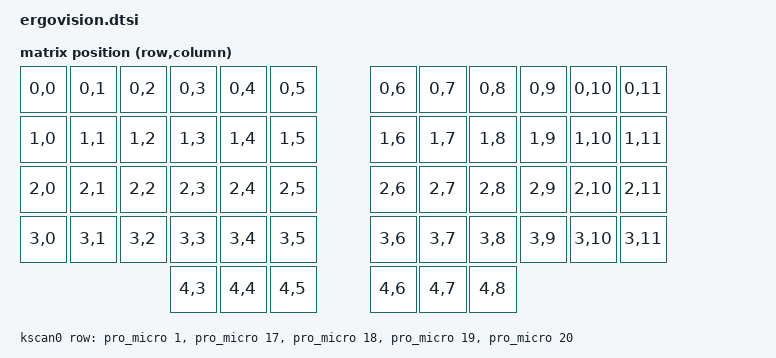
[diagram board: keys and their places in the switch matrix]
#include <dt-bindings/zmk/matrix_transform.h>
/ {
	chosen {
		zmk,kscan = &kscan0;
		zmk,matrix_transform = &default_transform;
	};
    default_transform: keymap_transform_0 {
        compatible = "zmk,matrix-transform";
        columns = <12>;
        rows = <5>;

        map = <
            RC(0,0) RC(0,1) RC(0,2) RC(0,3) RC(0,4) RC(0,5)                RC(0,6) RC(0,7) RC(0,8) RC(0,9) RC(0,10) RC(0,11)
            RC(1,0) RC(1,1) RC(1,2) RC(1,3) RC(1,4) RC(1,5)                RC(1,6) RC(1,7) RC(1,8) RC(1,9) RC(1,10) RC(1,11)
            RC(2,0) RC(2,1) RC(2,2) RC(2,3) RC(2,4) RC(2,5)                RC(2,6) RC(2,7) RC(2,8) RC(2,9) RC(2,10) RC(2,11)
            RC(3,0) RC(3,1) RC(3,2) RC(3,3) RC(3,4) RC(3,5)                RC(3,6) RC(3,7) RC(3,8) RC(3,9) RC(3,10) RC(3,11)                        
                                    RC(4,3) RC(4,4) RC(4,5)                RC(4,6) RC(4,7) RC(4,8)
        >;
    };

    kscan0: kscan {
        compatible = "zmk,kscan-gpio-matrix";
        label = "KSCAN";
        wakeup-source;

        diode-direction = "col2row";
        row-gpios
            = <&pro_micro 1  (GPIO_ACTIVE_HIGH | GPIO_PULL_DOWN)>
            , <&pro_micro 17 (GPIO_ACTIVE_HIGH | GPIO_PULL_DOWN)>
            , <&pro_micro 18 (GPIO_ACTIVE_HIGH | GPIO_PULL_DOWN)>
            , <&pro_micro 19 (GPIO_ACTIVE_HIGH | GPIO_PULL_DOWN)>
            , <&pro_micro 20 (GPIO_ACTIVE_HIGH | GPIO_PULL_DOWN)>
            ;
        
    };

    trackpad0: trackpad0 {
        compatible = "cirque,trackpad";
        label = "Trackpad0";
        status = "disabled";

        /* Specify the I2C bus and address for the trackpad */
        i2c-bus = <&i2c0>;  // Correct I2C bus for Trackpad0
        i2c-address = <0x12>;  // Correct I2C address for Trackpad0
        gpio-sda = <&pro_micro 5 GPIO_ACTIVE_HIGH>; // GPIO pin for SDA for Trackpad0
        gpio-scl = <&pro_micro 6 GPIO_ACTIVE_HIGH>; // GPIO pin for SCL for Trackpad0
    };

    trackpad1: trackpad1 {
        compatible = "cirque,trackpad";
        label = "Trackpad1";
        status = "disabled";

        /* Specify the I2C bus and address for the trackpad */
        i2c-bus = <&i2c0>;  // Correct I2C bus for Trackpad1
        i2c-address = <0x13>;  // Correct I2C address for Trackpad1
        gpio-sda = <&pro_micro 5 GPIO_ACTIVE_HIGH>; // GPIO pin for SDA for Trackpad1
        gpio-scl = <&pro_micro 6 GPIO_ACTIVE_HIGH>; // GPIO pin for SCL for Trackpad1
    };
};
